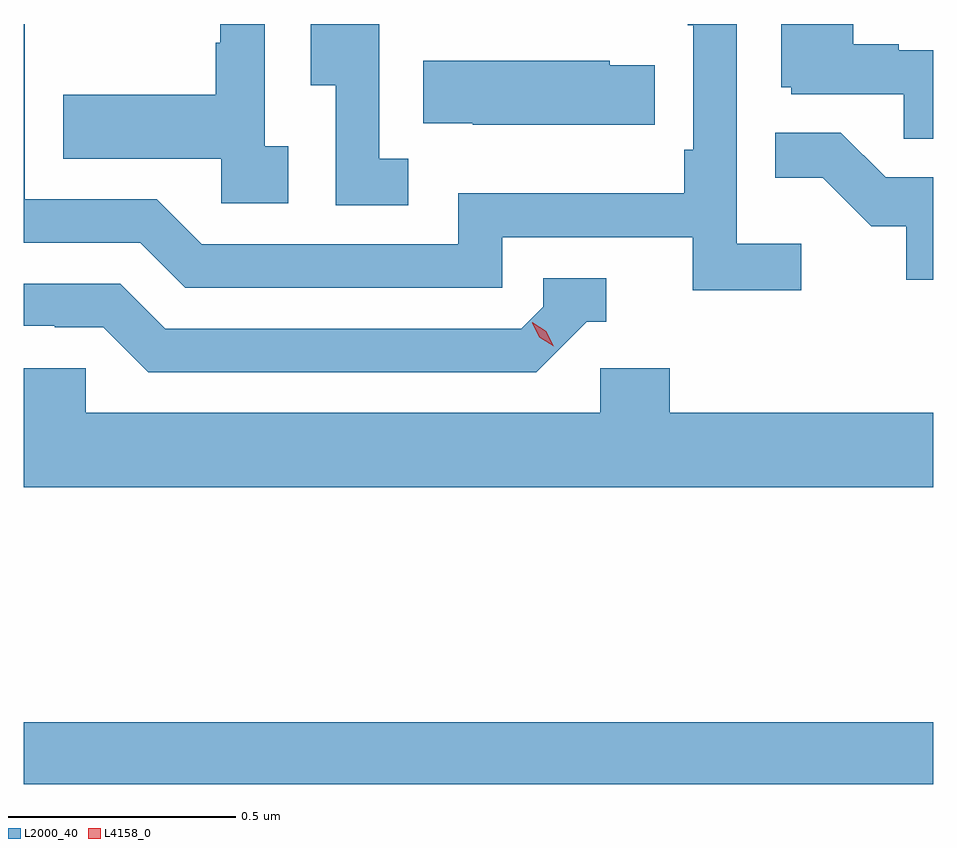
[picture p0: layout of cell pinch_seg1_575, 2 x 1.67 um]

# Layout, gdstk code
import gdstk
lib = gdstk.Library(unit=1e-6, precision=1e-09)
def R(c, l, rs):  # rectangles x0, y0, x1, y1
    for r in rs: c.add(gdstk.rectangle(r[:2], r[2:], *l))
def P(c, l, *ps):  # polygons
    for p in ps: c.add(gdstk.Polygon(p, *l))
L2000_40 = (2000, 40)
L4158_0 = (4158, 0)

pinch_seg1_575 = lib.new_cell('pinch_seg1_575')
R(pinch_seg1_575, L2000_40, [(1024.816,521.776,1026.816,521.912)])
P(pinch_seg1_575, L2000_40, [(1025.398,523.178),(1025.346,523.178),(1025.346,523.447),(1025.248,523.447),(1025.248,523.406),(1025.238,523.406),(1025.238,523.291),(1024.903,523.291),(1024.903,523.151),(1025.25,523.151),(1025.25,523.053),(1025.398,523.053)],
  [(1025.662,523.151),(1025.598,523.151),(1025.598,523.447),(1025.447,523.447),(1025.447,523.312),(1025.502,523.312),(1025.502,523.048),(1025.662,523.048)],
  [(1026.816,523.389),(1026.74,523.389),(1026.74,523.402),(1026.64,523.402),(1026.64,523.447),(1026.482,523.447),(1026.482,523.308),(1026.504,523.308),(1026.504,523.293),(1026.751,523.293),(1026.751,523.195),(1026.816,523.195)],
  [(1026.526,522.964),(1026.384,522.964),(1026.384,523.447),(1026.276,523.447),(1026.276,523.444),(1026.288,523.444),(1026.288,523.171),(1026.268,523.171),(1026.268,523.075),(1025.772,523.075),(1025.772,522.963),(1025.208,522.963),(1025.109,523.062),(1024.818,523.062),(1024.818,523.447),(1024.816,523.447),(1024.816,522.966),(1025.072,522.966),(1025.171,522.867),(1025.868,522.867),(1025.868,522.978),(1026.287,522.978),(1026.287,522.862),(1026.526,522.862)],
  [(1026.203,523.356),(1026.105,523.356),(1026.105,523.366),(1025.695,523.366),(1025.695,523.229),(1025.803,523.229),(1025.803,523.226),(1026.203,523.226)],
  [(1026.816,523.11),(1026.711,523.11),(1026.613,523.208),(1026.469,523.208),(1026.469,523.109),(1026.573,523.109),(1026.68,523.002),(1026.757,523.002),(1026.757,522.885),(1026.816,522.885)],
  [(1026.054,522.792),(1026.097,522.792),(1026.097,522.888),(1025.958,522.888),(1025.958,522.825),(1025.91,522.777),(1025.127,522.777),(1025.028,522.876),(1024.816,522.876),(1024.816,522.783),(1024.884,522.783),(1024.884,522.78),(1024.991,522.78),(1025.09,522.681),(1025.943,522.681)],
  [(1026.816,522.592),(1026.236,522.592),(1026.236,522.69),(1026.084,522.69),(1026.084,522.592),(1024.953,522.592),(1024.953,522.69),(1024.816,522.69),(1024.816,522.428),(1026.816,522.428)])
P(pinch_seg1_575, L4158_0, [(1025.981,522.738),(1025.95,522.758),(1025.934,522.79),(1025.934,522.791),(1025.934,522.791),(1025.965,522.771),(1025.981,522.739),(1025.981,522.738)])

lib.write_gds('pinch_seg1_575.gds')
